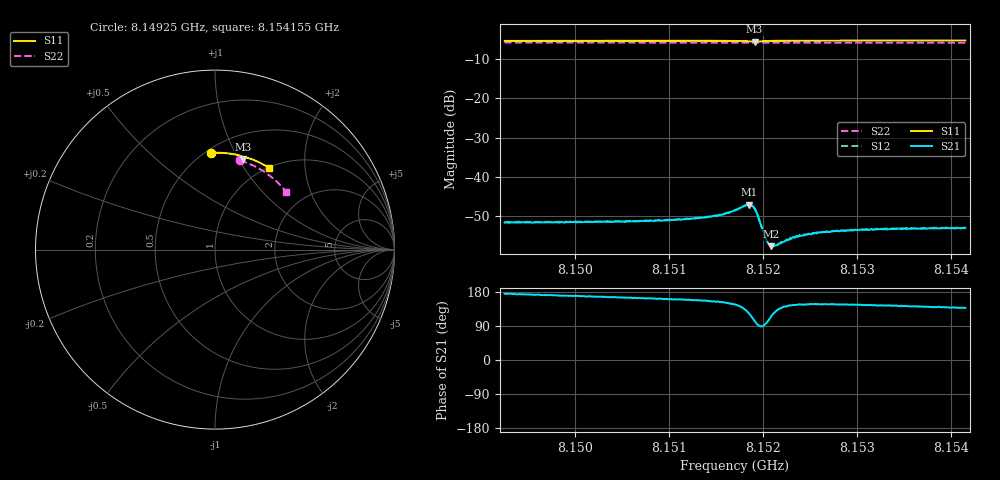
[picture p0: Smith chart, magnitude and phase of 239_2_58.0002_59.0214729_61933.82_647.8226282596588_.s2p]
#  HZ  S  RI  R  50.00
! Rohde & Schwarz Vector Network Analyzer
! Rohde-Schwarz,ZNB20-2Port,1311601062101988,3.16
! Created: UTC 3/21/2024, 1:00:59 AM
! freq[Hz]  re:S11  im:S11  re:S21  im:S21  re:S12  im:S12  re:S22  im:S22
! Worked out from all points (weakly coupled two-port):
!   401 points, 8.14925 GHz to 8.154155 GHz, reference 50 ohm
!   highest |S21| = -47.06 dB at 8.15185 GHz (marker M1); lowest = -57.6 dB at 8.152083 GHz (marker M2)
!   lowest |S11| = -5.5 dB at 8.151911 GHz (marker M3), VSWR 3.24, Z = 37.3 + j52.2 ohm
!   |S11| at or under -10 dB: nowhere
!   |S22| runs from -5.9 to -5.7 dB; largest |S21 - S12| = 0.00012
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8.1492499e9  -0.0224 0.5383  -0.00261 0.000222  -0.00265 0.000265  0.1389 0.4967
8.1500715e9  0.0351 0.5389  -0.00261 0.00054  -0.00263 0.000573  0.1894 0.4789
8.1508931e9  0.0925 0.5333  -0.00266 0.000871  -0.00265 0.000914  0.2373 0.4561
8.1514203e9  0.1296 0.5259  -0.00281 0.00126  -0.00282 0.00133  0.2666 0.4387
8.1515675e9  0.1405 0.5229  -0.00293 0.00151  -0.00294 0.00161  0.2745 0.4335
8.1517024e9  0.1511 0.5183  -0.00312 0.00206  -0.00313 0.00218  0.2816 0.4286
8.1518005e9  0.158 0.5124  -0.00299 0.00302  -0.00299 0.00308  0.2868 0.425
8.1518495e9  0.1593 0.5077  -0.00243 0.00371  -0.0024 0.00378  0.2893 0.4228
8.1518863e9  0.1579 0.505  -0.00154 0.004  -0.00155 0.00401  0.291 0.4216
8.1519108e9  0.1562 0.5044  -0.000873 0.00385  -0.000797 0.00388  0.2921 0.4207
8.1519476e9  0.1544 0.5063  -0.000133 0.00314  -6.56e-05 0.00318  0.294 0.4194
8.1520089e9  0.157 0.5112  -4.12e-05 0.0019  -1.42e-06 0.00191  0.2973 0.4174
8.1520335e9  0.1591 0.5124  -0.000193 0.0016  -0.000169 0.00161  0.2984 0.4164
8.152058e9  0.1613 0.513  -0.000343 0.00137  -0.000366 0.00137  0.2997 0.4157
8.1520825e9  0.1634 0.5134  -0.000513 0.00121  -0.000502 0.00124  0.301 0.4146
8.1521316e9  0.1679 0.5134  -0.000816 0.00106  -0.0008 0.00111  0.3036 0.4127
8.15234e9  0.1843 0.5104  -0.00138 0.000955  -0.00141 0.000991  0.3141 0.4044
8.1524136e9  0.1897 0.5088  -0.00149 0.000979  -0.0015 0.00103  0.3178 0.4017
8.152524e9  0.1974 0.5063  -0.0016 0.00102  -0.0016 0.00106  0.3232 0.397
8.152757e9  0.2131 0.5006  -0.00172 0.00111  -0.00169 0.00115  0.3345 0.3872
8.1533455e9  0.251 0.4837  -0.00175 0.00126  -0.00177 0.00133  0.3614 0.3611
8.1541549e9  0.3 0.4565  -0.00166 0.00151  -0.00164 0.00155  0.395 0.3224
